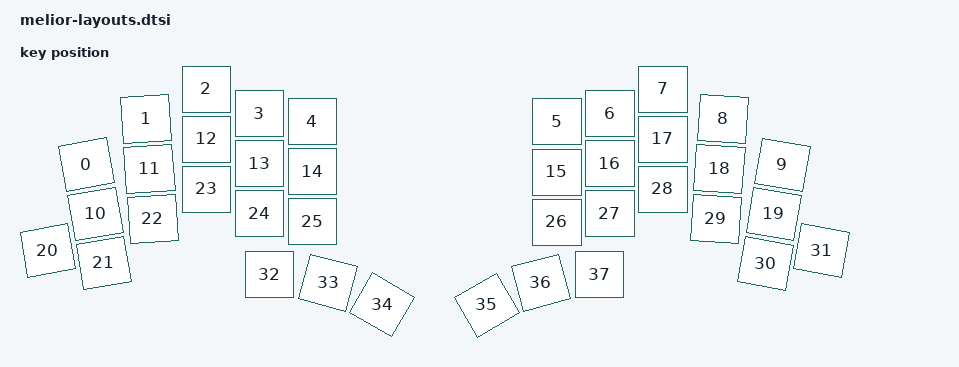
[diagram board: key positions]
#include <physical_layouts.dtsi>

/ {
    default_layout: default_layout {
        compatible = "zmk,physical-layout";
        display-name = "Melior";
        keys  //                     w   h    x    y     rot    rx    ry
            = <&key_physical_attrs 105 100   77  151 (-1000)   130   201>
            , <&key_physical_attrs 105 100  196   60  (-400)   249   110>
            , <&key_physical_attrs 105 100  317    0       0     0     0>
            , <&key_physical_attrs 105 100  423   49       0     0     0>
            , <&key_physical_attrs 105 100  529   65       0     0     0>
            , <&key_physical_attrs 105 100 1018   65       0     0     0>
            , <&key_physical_attrs 105 100 1124   49       0     0     0>
            , <&key_physical_attrs 105 100 1230    0       0     0     0>
            , <&key_physical_attrs 105 100 1350   60     400  1403   110>
            , <&key_physical_attrs 105 100 1469  152    1000  1522   202>
            , <&key_physical_attrs 105 100   95  250 (-1000)   147   300>
            , <&key_physical_attrs 105 100  203  160  (-400)   256   210>
            , <&key_physical_attrs 105 100  317  100       0     0     0>
            , <&key_physical_attrs 105 100  423  149       0     0     0>
            , <&key_physical_attrs 105 100  529  165       0     0     0>
            , <&key_physical_attrs 105 100 1018  166       0     0     0>
            , <&key_physical_attrs 105 100 1124  149       0     0     0>
            , <&key_physical_attrs 105 100 1230  100       0     0     0>
            , <&key_physical_attrs 105 100 1343  160     400  1396   210>
            , <&key_physical_attrs 105 100 1452  250    1000  1505   300>
            , <&key_physical_attrs 105 100    0  323 (-1000)    52   373>
            , <&key_physical_attrs 105 100  112  348 (-1000)   165   398>
            , <&key_physical_attrs 105 100  210  260  (-400)   263   310>
            , <&key_physical_attrs 105 100  317  200       0     0     0>
            , <&key_physical_attrs 105 100  423  249       0     0     0>
            , <&key_physical_attrs 105 100  529  265       0     0     0>
            , <&key_physical_attrs 105 100 1018  266       0     0     0>
            , <&key_physical_attrs 105 100 1124  249       0     0     0>
            , <&key_physical_attrs 105 100 1230  200       0     0     0>
            , <&key_physical_attrs 105 100 1336  260     400  1389   310>
            , <&key_physical_attrs 105 100 1435  349    1000  1488   399>
            , <&key_physical_attrs 105 100 1547  323    1000  1600   373>
            , <&key_physical_attrs 105 100  443  371       0     0     0>
            , <&key_physical_attrs 105 100  561  387    1500   613   437>
            , <&key_physical_attrs 105 100  669  432    3000   722   482>
            , <&key_physical_attrs 105 100  878  432 (-3000)   931   482>
            , <&key_physical_attrs 105 100  986  387 (-1500)  1039   437>
            , <&key_physical_attrs 105 100 1103  371       0     0     0>
            ;
    };
};
